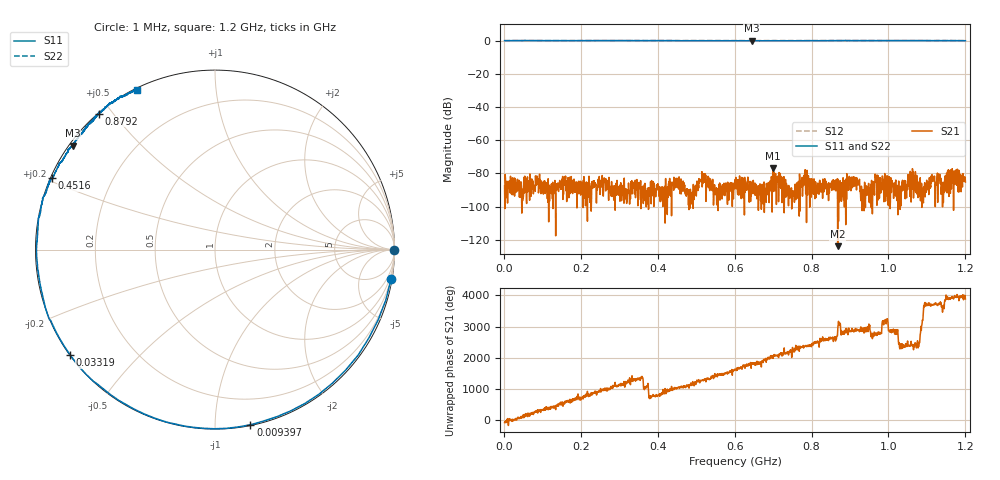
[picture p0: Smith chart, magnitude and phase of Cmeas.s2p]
! Anritsu VNA Master:  Model: MS2025B
! SN:  1642059
! /bd0/PROE/TP1/P2/Cmeas.s2p
! Existing Calibration Information:
! TYPE:  Current Settings,  Active Cal Settings
! TIME:  04/23/2024 08:27:33 AM,  03/12/2018 11:45:53 AM
! INTERNAL TEMP:  41.8 C,  40.8 C
! # POINTS:  1715,  4001
! START FREQ:  1.000 MHz,  1.000 MHz
! STOP FREQ:  1.200 371 500 GHz,  2.800 GHz
! SOURCE POWER:  Default,  Default
! IFBW:  1 kHz,  1 kHz
! AVG FACTOR:  1 ,  1
! REF PLANE 1:  0 mm,  0 mm
! REF PLANE 2:  0 mm,  0 mm
! CAL TYPE:  1P2P S11,S21,  1P2P S11,S21
! CAL METHOD:  SOLT,  SOLT
! CAL LINE TYPE:  Coax,  Coax
! DUT PORT 1:  ,
! DUT PORT 2:  N-Conn(M),  N-Conn(M)
! CAL STATUS:  OK: Accuracy High,  --
# GHZ S MA R 50.0
! FREQ.GHZ  S11M  S11A  S21M  S21A  S12M  S12A  S22M  S22A
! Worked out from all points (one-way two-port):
!   1715 points, 1 MHz to 1.2 GHz, reference 50 ohm
!   highest |S21| = -76.99 dB at 699.4 MHz (marker M1); lowest = -123.8 dB at 868 MHz (marker M2)
!   lowest |S11| = -0.2 dB at 644.8 MHz (marker M3), VSWR 105.02, Z = 0.527 + j16.3 ohm
!   |S11| at or under -10 dB: nowhere
!   |S22| runs from 0.0 to 0.0 dB; largest |S21 - S12| = 1
!   S11 on the Smith chart (normalised r, x): 1 MHz: 0, -12; 9.397 MHz: 0.01, -1.22; 33.19 MHz: 0.00, -0.33; 451.6 MHz: 0.00, +0.21; 879.2 MHz: 0.00, +0.46; 1.2 GHz: 0.01, +0.63
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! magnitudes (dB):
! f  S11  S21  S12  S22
! 1 MHz  0.0  -87.6  0.0  0.0
! 9.397 MHz  0.0  -87.7  0.0  0.0
! 33.19 MHz  0.0  -88.4  0.0  0.0
! 201.1 MHz  -0.1  -92.4  0.0  0.0
! 401.3 MHz  0.0  -88.6  0.0  0.0
! 451.6 MHz  -0.1  -86.8  0.0  0.0
! 600.7 MHz  -0.1  -85.2  0.0  0.0
! 644.8 MHz  -0.2  -85.9  0.0  0.0
! 699.4 MHz  -0.1  -77.0  0.0  0.0
! 800.8 MHz  -0.1  -83.3  0.0  0.0
! 868 MHz  0.0  -123.8  0.0  0.0
! 879.2 MHz  0.0  -89.2  0.0  0.0
! 1.001 GHz  0.0  -91.5  0.0  0.0
! 1.051 GHz  0.0  -80.8  0.0  0.0
! 1.06 GHz  0.0  -80.8  0.0  0.0
! 1.077 GHz  0.0  -85.1  0.0  0.0
! 1.145 GHz  0.0  -91.6  0.0  0.0
! 1.16 GHz  0.0  -78.4  0.0  0.0
! 1.173 GHz  -0.1  -86.7  0.0  0.0
! 1.179 GHz  -0.1  -77.5  0.0  0.0
! 1.191 GHz  -0.1  -82.2  0.0  0.0
! 1.2 GHz  -0.1  -85.2  0.0  0.0
